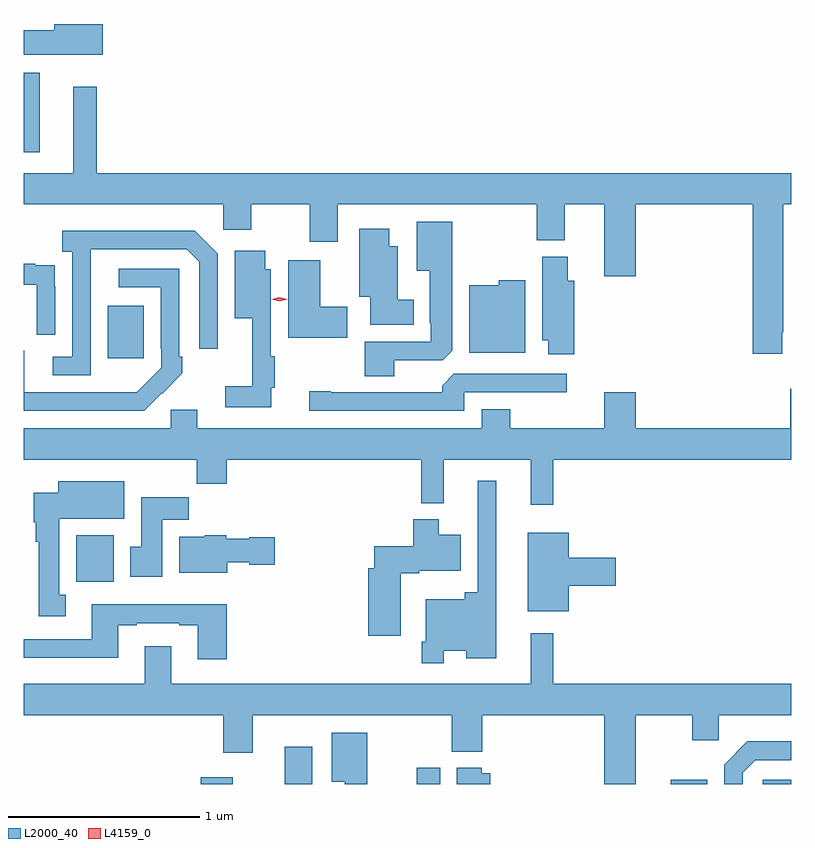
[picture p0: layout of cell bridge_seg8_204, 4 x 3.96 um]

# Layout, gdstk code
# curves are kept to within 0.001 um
import gdstk
lib = gdstk.Library(unit=1e-6, precision=1e-09)
def R(c, l, rs):  # rectangles x0, y0, x1, y1
    for r in rs: c.add(gdstk.rectangle(r[:2], r[2:], *l))
def P(c, l, *ps):  # polygons
    for p in ps: c.add(gdstk.Polygon(p, *l))
L2000_40 = (2000, 40)
L4159_0 = (4159, 0)

bridge_seg8_204 = lib.new_cell('bridge_seg8_204')
R(bridge_seg8_204, L2000_40, [(174.893,1097.494,175.06,1097.53), (175.331,1097.494,175.474,1097.689), (176.018,1097.494,176.14,1097.578), (177.344,1097.494,177.532,1097.515), (177.822,1097.494,177.97,1097.517), (174.242,1098.548,174.439,1098.79), (174.407,1099.713,174.595,1099.987), (173.97,1100.787,174.052,1101.202)])
P(bridge_seg8_204, L2000_40, [(174.382,1101.457),(174.128,1101.457),(174.128,1101.425),(173.97,1101.425),(173.97,1101.296),(174.382,1101.296)],
  [(174.349,1101.13),(174.227,1101.13),(174.227,1100.68),(173.97,1100.68),(173.97,1100.516),(175.008,1100.516),(175.008,1100.385),(175.155,1100.385),(175.155,1100.516),(175.459,1100.516),(175.459,1100.322),(175.606,1100.322),(175.606,1100.516),(176.644,1100.516),(176.644,1100.329),(176.791,1100.329),(176.791,1100.516),(176.996,1100.516),(176.996,1100.142),(177.16,1100.142),(177.16,1100.516),(177.77,1100.516),(177.77,1099.737),(177.923,1099.737),(177.923,1099.849),(177.93,1099.849),(177.93,1100.516),(177.97,1100.516),(177.97,1100.68),(174.349,1100.68)],
  [(175.9,1099.704),(176.154,1099.704),(176.203,1099.753),(176.203,1100.425),(176.018,1100.425),(176.018,1100.171),(176.087,1100.171),(176.087,1099.897),(176.091,1099.897),(176.091,1099.8),(175.748,1099.8),(175.748,1099.621),(175.9,1099.621)],
  [(176.002,1100.02),(175.918,1100.02),(175.918,1100.299),(175.876,1100.299),(175.876,1100.389),(175.718,1100.389),(175.718,1100.036),(175.775,1100.036),(175.775,1099.889),(176.002,1099.889)],
  [(174.318,1100.083),(174.319,1100.283),(174.819,1100.283),(174.885,1100.217),(174.885,1099.764),(174.981,1099.764),(174.981,1100.259),(174.86,1100.38),(174.171,1100.38),(174.171,1100.27),(174.222,1100.27),(174.222,1099.722),(174.12,1099.722),(174.12,1099.626),(174.318,1099.626)],
  [(175.259,1099.561),(175.277,1099.561),(175.277,1099.724),(175.257,1099.724),(175.257,1100.179),(175.228,1100.179),(175.228,1100.275),(175.07,1100.275),(175.07,1099.922),(175.16,1099.922),(175.16,1099.567),(175.02,1099.567),(175.02,1099.458),(175.259,1099.458)],
  [(176.84,1100.118),(176.806,1100.118),(176.806,1100.244),(176.672,1100.244),(176.672,1099.808),(176.705,1099.808),(176.705,1099.734),(176.84,1099.734)],
  [(175.657,1099.983),(175.516,1099.983),(175.516,1100.224),(175.349,1100.224),(175.349,1099.82),(175.657,1099.82)],
  [(174.132,1100.09),(174.131,1100.09),(174.131,1100.199),(174.029,1100.199),(174.029,1100.206),(173.97,1100.206),(173.97,1100.097),(174.036,1100.097),(174.036,1099.836),(174.132,1099.836)],
  [(174.689,1099.531),(174.69,1099.53),(174.795,1099.635),(174.795,1099.723),(174.78,1099.723),(174.78,1100.181),(174.465,1100.181),(174.465,1100.085),(174.684,1100.085),(174.684,1099.765),(174.687,1099.765),(174.687,1099.665),(174.559,1099.537),(173.971,1099.536),(173.97,1099.752),(173.97,1099.44),(174.598,1099.44)],
  [(176.584,1100.122),(176.445,1100.122),(176.445,1100.095),(176.291,1100.095),(176.291,1099.742),(176.584,1099.742)],
  [(176.265,1099.536),(176.8,1099.536),(176.8,1099.632),(176.211,1099.632),(176.15,1099.57),(176.15,1099.536),(175.57,1099.536),(175.57,1099.541),(175.458,1099.541),(175.458,1099.44),(176.265,1099.44)],
  [(176.729,1099.184),(177.97,1099.184),(177.97,1099.556),(177.965,1099.556),(177.965,1099.348),(177.16,1099.348),(177.16,1099.537),(176.996,1099.537),(176.996,1099.348),(176.505,1099.348),(176.505,1099.447),(176.357,1099.447),(176.357,1099.348),(174.874,1099.348),(174.874,1099.446),(174.735,1099.446),(174.735,1099.348),(173.97,1099.348),(173.97,1099.184),(174.871,1099.184),(174.871,1099.06),(175.028,1099.06),(175.028,1099.184),(176.041,1099.184),(176.041,1098.959),(176.159,1098.959),(176.159,1099.184),(176.612,1099.184),(176.612,1098.951),(176.729,1098.951)],
  [(176.16,1098.188),(176.276,1098.188),(176.276,1098.149),(176.434,1098.149),(176.434,1099.075),(176.337,1099.075),(176.337,1098.493),(176.269,1098.493),(176.269,1098.457),(176.064,1098.457),(176.064,1098.235),(176.044,1098.235),(176.044,1098.123),(176.16,1098.123)],
  [(174.187,1098.482),(174.154,1098.482),(174.154,1098.878),(174.493,1098.878),(174.493,1099.072),(174.149,1099.072),(174.149,1099.012),(174.02,1099.012),(174.02,1098.858),(174.032,1098.858),(174.032,1098.758),(174.047,1098.758),(174.047,1098.369),(174.187,1098.369)],
  [(174.691,1098.872),(174.83,1098.872),(174.83,1098.99),(174.581,1098.99),(174.581,1098.732),(174.524,1098.732),(174.524,1098.576),(174.691,1098.576)],
  [(175.936,1098.593),(176.032,1098.593),(176.032,1098.605),(176.248,1098.605),(176.248,1098.793),(176.134,1098.793),(176.134,1098.874),(176,1098.874),(176,1098.733),(175.796,1098.733),(175.796,1098.619),(175.766,1098.619),(175.766,1098.267),(175.936,1098.267)],
  [(176.812,1098.527),(177.055,1098.527),(177.055,1098.674),(176.812,1098.674),(176.812,1098.805),(176.597,1098.805),(176.597,1098.395),(176.812,1098.395)],
  [(175.03,1098.65),(175.146,1098.65),(175.146,1098.638),(175.279,1098.638),(175.279,1098.78),(175.146,1098.78),(175.146,1098.772),(175.026,1098.772),(175.026,1098.79),(174.912,1098.79),(174.912,1098.784),(174.779,1098.784),(174.779,1098.596),(175.03,1098.596)],
  [(175.028,1098.43),(174.323,1098.43),(174.323,1098.249),(173.97,1098.249),(173.97,1098.152),(174.463,1098.152),(174.463,1098.321),(174.559,1098.321),(174.559,1098.333),(174.779,1098.333),(174.779,1098.321),(174.875,1098.321),(174.875,1098.144),(175.028,1098.144)],
  [(177.16,1097.852),(177.455,1097.852),(177.455,1097.721),(177.594,1097.721),(177.594,1097.852),(177.97,1097.852),(177.97,1098.016),(176.729,1098.016),(176.729,1098.28),(176.612,1098.28),(176.612,1098.016),(174.739,1098.016),(174.739,1098.211),(174.599,1098.211),(174.599,1098.016),(173.97,1098.016),(173.97,1097.852),(175.01,1097.852),(175.01,1097.658),(175.162,1097.658),(175.162,1097.852),(176.2,1097.852),(176.2,1097.663),(176.36,1097.663),(176.36,1097.852),(176.996,1097.852),(176.996,1097.494),(177.16,1097.494)],
  [(175.759,1097.761),(175.574,1097.761),(175.574,1097.507),(175.643,1097.507),(175.643,1097.494),(175.759,1097.494)],
  [(177.717,1097.553),(177.783,1097.619),(177.97,1097.619),(177.97,1097.716),(177.742,1097.716),(177.621,1097.595),(177.621,1097.494),(177.717,1097.494)],
  [(176.401,1097.551),(176.358,1097.551),(176.358,1097.578),(176.228,1097.578),(176.228,1097.494),(176.401,1097.494)])
P(bridge_seg8_204, L4159_0, [(175.302,1100.012),(175.261,1100.022),(175.261,1100.022),(175.261,1100.023),(175.302,1100.032),(175.343,1100.022),(175.344,1100.022),(175.343,1100.021)])

lib.write_gds('bridge_seg8_204.gds')
